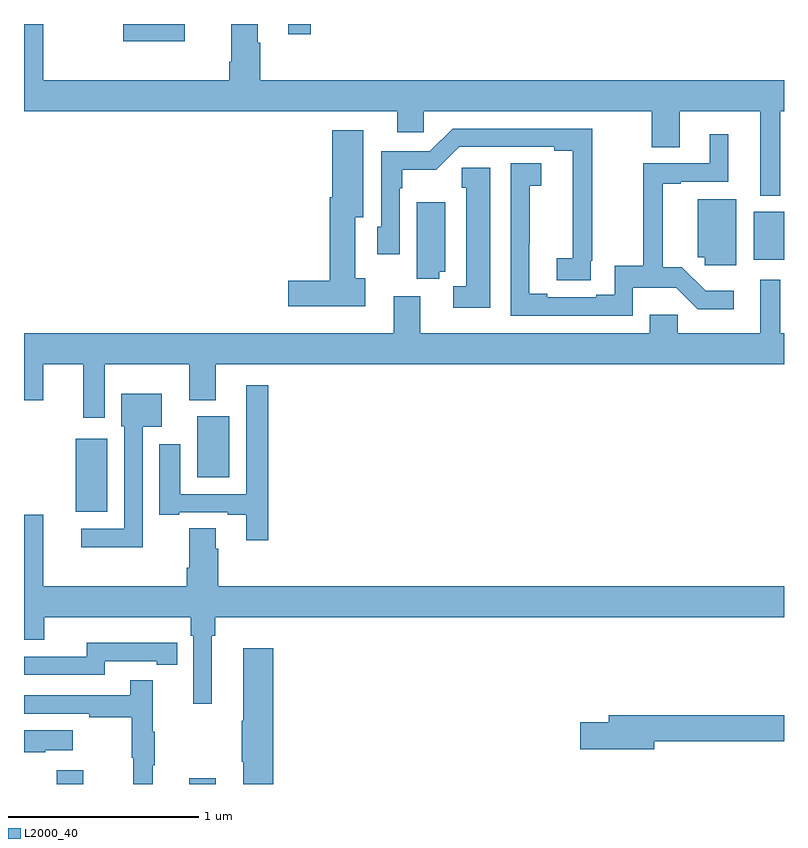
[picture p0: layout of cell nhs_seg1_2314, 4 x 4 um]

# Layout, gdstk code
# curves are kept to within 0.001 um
import gdstk
lib = gdstk.Library(unit=1e-6, precision=1e-09)
def R(c, l, rs):  # rectangles x0, y0, x1, y1
    for r in rs: c.add(gdstk.rectangle(r[:2], r[2:], *l))
def P(c, l, *ps):  # polygons
    for p in ps: c.add(gdstk.Polygon(p, *l))
L2000_40 = (2000, 40)

nhs_seg1_2314 = lib.new_cell('nhs_seg1_2314')
R(nhs_seg1_2314, L2000_40, [(237.173,540.199,237.313,540.271), (237.869,540.199,238.009,540.229), (237.272,541.631,237.439,542.017), (237.911,541.814,238.081,542.134), (240.842,542.957,241,543.211), (237.522,544.109,237.846,544.199), (238.391,544.146,238.508,544.199)])
P(nhs_seg1_2314, L2000_40, [(240.979,543.74),(241,543.74),(241,543.904),(238.244,543.904),(238.244,544.1),(238.231,544.1),(238.231,544.199),(238.091,544.199),(238.091,544),(238.079,544),(238.079,543.904),(237.1,543.904),(237.1,544.199),(237,544.199),(237,543.74),(238.964,543.74),(238.964,543.63),(239.103,543.63),(239.103,543.74),(240.304,543.74),(240.304,543.55),(240.451,543.55),(240.451,543.74),(240.875,543.74),(240.875,543.296),(240.979,543.296)],
  [(239.984,542.953),(239.99,542.953),(239.99,543.648),(239.256,543.648),(239.136,543.528),(238.881,543.528),(238.881,543.132),(238.86,543.132),(238.86,542.988),(238.977,542.988),(238.977,543.335),(238.99,543.335),(238.99,543.431),(239.171,543.431),(239.292,543.552),(239.792,543.552),(239.792,543.532),(239.888,543.532),(239.887,542.966),(239.805,542.966),(239.805,542.851),(239.984,542.851)],
  [(238.795,542.862),(238.744,542.862),(238.744,543.182),(238.786,543.182),(238.786,543.64),(238.622,543.64),(238.622,543.286),(238.61,543.286),(238.61,542.849),(238.392,542.849),(238.392,542.714),(238.795,542.714)],
  [(240.204,542.81),(240.433,542.81),(240.546,542.697),(240.736,542.697),(240.736,542.794),(240.587,542.794),(240.461,542.92),(240.362,542.92),(240.362,543.357),(240.457,543.357),(240.457,543.369),(240.706,543.369),(240.706,543.619),(240.608,543.619),(240.608,543.465),(240.259,543.465),(240.259,542.927),(240.108,542.927),(240.108,542.774),(240.011,542.774),(240.011,542.76),(239.755,542.76),(239.755,542.78),(239.659,542.78),(239.659,543.043),(239.661,543.043),(239.661,543.347),(239.722,543.347),(239.722,543.467),(239.562,543.467),(239.562,542.664),(240.204,542.664)],
  [(239.455,543.442),(239.305,543.442),(239.305,543.336),(239.327,543.336),(239.327,542.82),(239.259,542.82),(239.259,542.705),(239.455,542.705)],
  [(240.748,543.277),(240.545,543.277),(240.545,542.972),(240.582,542.972),(240.582,542.93),(240.748,542.93)],
  [(239.186,542.894),(239.218,542.894),(239.218,543.262),(239.066,543.262),(239.066,542.857),(239.186,542.857)],
  [(237.424,542.408),(237.869,542.408),(237.869,542.219),(238.009,542.219),(238.009,542.408),(241,542.408),(241,542.572),(240.979,542.572),(240.979,542.854),(240.875,542.854),(240.875,542.572),(240.44,542.572),(240.44,542.67),(240.293,542.67),(240.293,542.572),(239.086,542.572),(239.086,542.767),(238.946,542.767),(238.946,542.572),(237,542.572),(237,542.22),(237.1,542.22),(237.1,542.408),(237.311,542.408),(237.311,542.127),(237.424,542.127)],
  [(238.286,542.299),(238.17,542.299),(238.17,541.725),(237.823,541.725),(237.823,541.987),(237.713,541.987),(237.713,541.617),(237.817,541.617),(237.817,541.629),(238.073,541.629),(238.073,541.617),(238.169,541.617),(238.169,541.482),(238.286,541.482)],
  [(237.624,542.078),(237.724,542.078),(237.724,542.254),(237.512,542.254),(237.512,542.082),(237.528,542.082),(237.528,541.542),(237.3,541.542),(237.3,541.445),(237.624,541.445)],
  [(237.988,540.98),(238.007,540.98),(238.007,541.076),(241,541.076),(241,541.24),(238.022,541.24),(238.022,541.436),(238.009,541.436),(238.009,541.544),(237.869,541.544),(237.869,541.336),(237.857,541.336),(237.857,541.24),(237.1,541.24),(237.1,541.615),(237,541.615),(237,540.959),(237.106,540.959),(237.106,541.076),(237.878,541.076),(237.878,540.98),(237.891,540.98),(237.891,540.621),(237.988,540.621)],
  [(237.426,540.846),(237.698,540.846),(237.698,540.826),(237.806,540.826),(237.806,540.942),(237.698,540.942),(237.698,540.943),(237.33,540.943),(237.33,540.87),(237,540.87),(237,540.774),(237.426,540.774)],
  [(238.313,540.913),(238.154,540.913),(238.154,540.533),(238.147,540.533),(238.147,540.316),(238.154,540.316),(238.154,540.199),(238.313,540.199)],
  [(237.677,540.299),(237.688,540.299),(237.688,540.473),(237.677,540.473),(237.677,540.745),(237.559,540.745),(237.559,540.666),(237,540.666),(237,540.57),(237.343,540.57),(237.343,540.55),(237.567,540.55),(237.567,540.336),(237.574,540.336),(237.574,540.199),(237.677,540.199)],
  [(240.316,540.424),(241,540.424),(241,540.56),(240.077,540.56),(240.077,540.524),(239.928,540.524),(239.928,540.382),(240.316,540.382)],
  [(237.113,540.377),(237.256,540.377),(237.256,540.481),(237,540.481),(237,540.367),(237.113,540.367)])

lib.write_gds('nhs_seg1_2314.gds')
